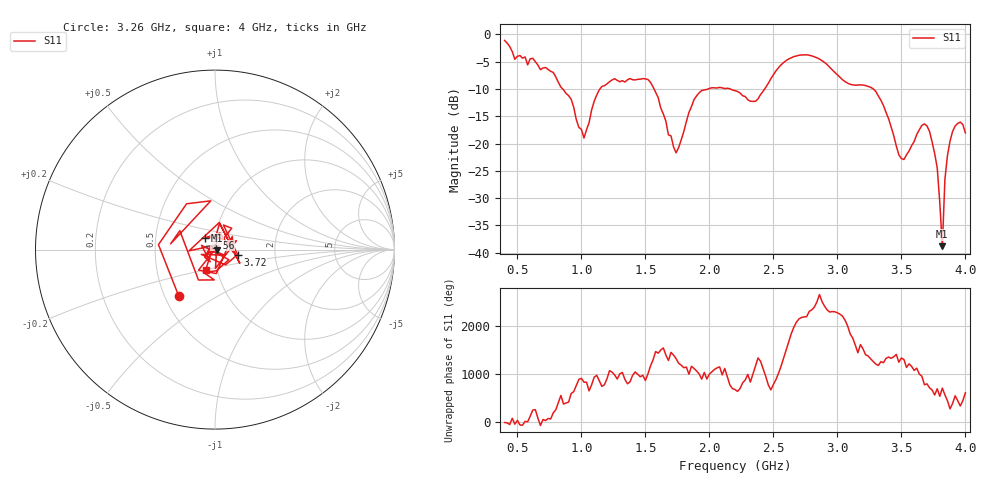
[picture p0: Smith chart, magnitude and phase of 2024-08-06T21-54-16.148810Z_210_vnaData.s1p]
!Created with skrf (http://scikit-rf.org).
# Hz S RI R 50.0
!freq ReS11 ImS11
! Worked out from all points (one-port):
!   181 points, 400 MHz to 4 GHz, reference 50 ohm
!   lowest |S11| = -38.8 dB at 3.82 GHz (marker M1), VSWR 1.02, Z = 51.1 - j0.341 ohm
!   |S11| at or under -10 dB: 853.8 MHz to 1.145 GHz (291.3 MHz wide, 29.1 % of centre); 1.567 GHz to 1.99 GHz (422.6 MHz wide, 23.8 % of centre); 3.28 GHz to end of sweep (the widest 3 of 4)
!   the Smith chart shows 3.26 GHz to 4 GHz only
!   S11 on the Smith chart (normalised r, x): 3.26 GHz: 0.59, -0.34; 3.56 GHz: 0.89, +0.12; 3.72 GHz: 1.29, -0.07; 4 GHz: 0.88, -0.20
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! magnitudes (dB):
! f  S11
! 400 MHz  -1.1
! 480 MHz  -4.6
! 620 MHz  -4.4
! 860 MHz  -10.2
! 1.02 GHz  -19.0
! 1.14 GHz  -10.2
! 1.3 GHz  -8.7
! 1.52 GHz  -8.3
! 1.74 GHz  -21.7
! 1.76 GHz  -20.7
! 1.92 GHz  -10.7
! 2.2 GHz  -10.3
! 2.36 GHz  -12.3
! 2.66 GHz  -4.1
! 2.86 GHz  -4.5
! 3.1 GHz  -9.2
! 3.26 GHz  -9.7
! 3.36 GHz  -13.1
! 3.48 GHz  -22.1
! 3.56 GHz  -21.4
! 3.66 GHz  -16.7
! 3.72 GHz  -17.8
! 3.78 GHz  -24.5
! 3.82 GHz  -38.8
! 3.84 GHz  -26.5
! 3.88 GHz  -19.6
! 3.94 GHz  -16.3
! 4 GHz  -18.1
